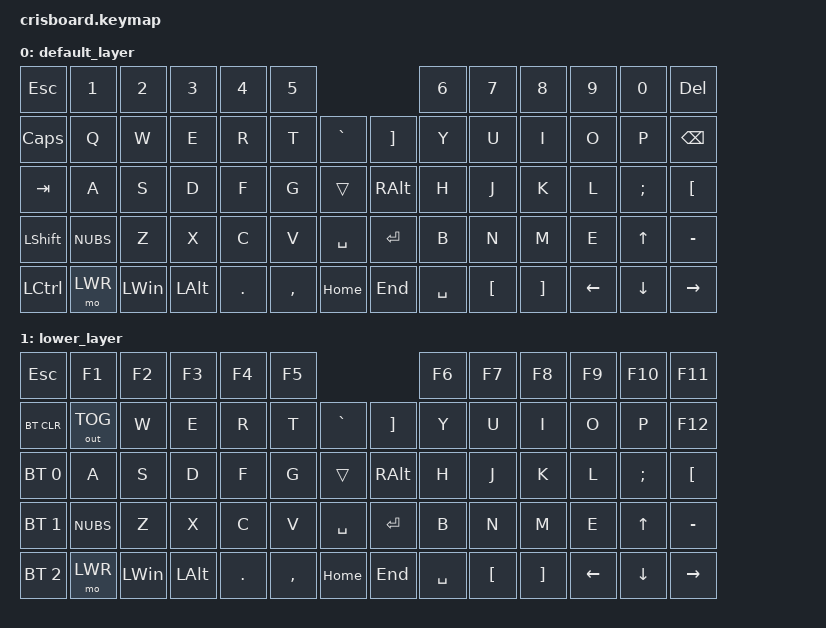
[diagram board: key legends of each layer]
#include <behaviors.dtsi>
#include <dt-bindings/zmk/keys.h>
#include <dt-bindings/zmk/bt.h>
#include <dt-bindings/zmk/outputs.h>

#define DEF 0
#define LWR 1
#define RSE 2
#define ADJ 3


/ {
    conditional_layers {
        compatible = "zmk,conditional-layers";
        tri_layer {
            if-layers = <1 2>;
            then-layer = <3>;
        };
    };
};


/ {
        keymap {
                compatible = "zmk,keymap";

                default_layer {
 //
 // QWERTY
 // ,-----------------------------------------.                    ,----------------------------------------.
 // | ESC  |   1  |   2  |   3  |   4  |   5  |                   |   6  |   7  |   8  |   9  |   0  |  DEL |
 // |------+------+------+------+------+------|-------    --------|------+------+------+------+------+------|
 // | CAPS |   Q  |   W  |   E  |   R  |   T  |      |    |  +*   |   Y  |   U  |   I  |   O  |   P  | BSPC |
 // |------+------+------+------+------+------|-------    --------|------+------+------+------+------+------|
 // | Tab  |   A  |   S  |   D  |   F  |   G  |      |    |       |   H  |   J  |   K  |   L  |   Ñ  |  ´   |
 // |------+------+------+------+------+------|-------    --------|------+------+------+------+------+------|
 // |LShift|  <>  |   Z  |   X  |   C  |   V  |  :.  |    | ENTER |   B  |   N  |   M  |   -  |  UP  |  '?  |
 // |-----------------------------------------|-------    --------|-----------------------------------------|
 // | LCTR |  WIN | KC_NO| LALT |  ,;  |  SPC | HOME |    |  END  |  SPC |   {  |   }  | LEFT | DOWN | RIGHT|
 //  -------------------------------------------------    ---------------------------------------------------
 //


                        bindings = <
    &kp ESC        &kp N1      &kp N2      &kp N3      &kp N4     &kp N5                            &kp N6    &kp N7     &kp N8      &kp N9     &kp N0     &kp DEL
    &kp CAPS       &kp Q       &kp W       &kp E       &kp R      &kp T       &kp GRAVE       &kp RBKT  &kp Y     &kp U      &kp I       &kp O      &kp P      &kp BSPC
    &kp TAB        &kp A       &kp S       &kp D       &kp F      &kp G       &trans          &kp RALT  &kp H     &kp J      &kp K       &kp L      &kp SEMI   &kp LBKT
    &kp LSHFT      &kp NUBS    &kp Z       &kp X       &kp C      &kp V       &kp SPACE       &kp ENTER &kp B     &kp N      &kp M       &kp E      &kp UP     &kp MINUS
    &kp LCTRL      &mo LWR     &kp LWIN    &kp LALT    &kp DOT    &kp COMMA   &kp HOME        &kp END   &kp SPACE &kp LBKT   &kp RBKT    &kp LEFT   &kp DOWN   &kp RIGHT
                        >;
                };






                lower_layer {
 //
 // QWERTY
 // ,-----------------------------------------.                    ,----------------------------------------.
 // | ESC  |   1  |   2  |   3  |   4  |   5  |                   |   6  |   7  |   8  |   9  |   0  |  DEL |
 // |------+------+------+------+------+------|-------    --------|------+------+------+------+------+------|
 // | CAPS |   Q  |   W  |   E  |   R  |   T  |      |    |  +*   |   Y  |   U  |   I  |   O  |   P  | BSPC |
 // |------+------+------+------+------+------|-------    --------|------+------+------+------+------+------|
 // | Tab  |   A  |   S  |   D  |   F  |   G  |      |    |       |   H  |   J  |   K  |   L  |   Ñ  |  ´   |
 // |------+------+------+------+------+------|-------    --------|------+------+------+------+------+------|
 // |LShift|  <>  |   Z  |   X  |   C  |   V  |  :.  |    | ENTER |   B  |   N  |   M  |   -  |  UP  |  '?  |
 // |-----------------------------------------|-------    --------|-----------------------------------------|
 // | LCTR |  WIN | KC_NO| LALT |  ,;  |  SPC | HOME |    |  END  |  SPC |   {  |   }  | LEFT | DOWN | RIGHT|
 //  -------------------------------------------------    ---------------------------------------------------
 //


                        bindings = <
    &kp ESC        &kp F1       &kp F2      &kp F3      &kp F4     &kp F5                            &kp F6    &kp F7     &kp F8      &kp F9     &kp F10    &kp F11
    &bt BT_CLR     &out OUT_TOG &kp W       &kp E       &kp R      &kp T       &kp GRAVE       &kp RBKT  &kp Y     &kp U      &kp I       &kp O      &kp P      &kp F12
    &bt BT_SEL 0   &kp A        &kp S       &kp D       &kp F      &kp G       &trans          &kp RALT  &kp H     &kp J      &kp K       &kp L      &kp SEMI   &kp LBKT
    &bt BT_SEL 1   &kp NUBS     &kp Z       &kp X       &kp C      &kp V       &kp SPACE       &kp ENTER &kp B     &kp N      &kp M       &kp E      &kp UP     &kp MINUS
    &bt BT_SEL 2   &mo LWR      &kp LWIN    &kp LALT    &kp DOT    &kp COMMA   &kp HOME        &kp END   &kp SPACE &kp LBKT   &kp RBKT    &kp LEFT   &kp DOWN   &kp RIGHT
                        >;
                };






        };



};
